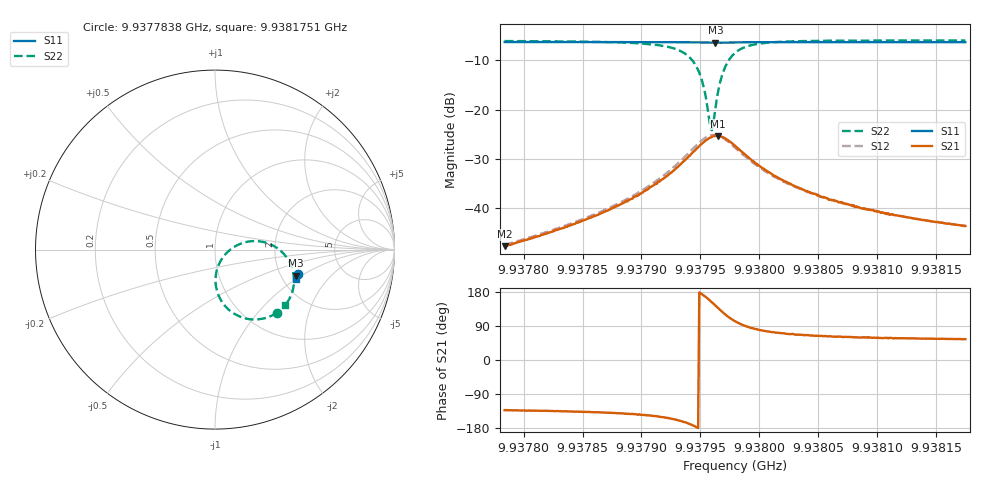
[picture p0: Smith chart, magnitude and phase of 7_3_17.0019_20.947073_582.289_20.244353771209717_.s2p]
#  HZ  S  RI  R  50.00
! Rohde & Schwarz Vector Network Analyzer
! Rohde-Schwarz,ZNB20-2Port,1311601062101988,3.16
! Created: UTC 3/20/2024, 10:52:20 PM
! freq[Hz]  re:S11  im:S11  re:S21  im:S21  re:S12  im:S12  re:S22  im:S22
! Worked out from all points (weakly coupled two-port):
!   401 points, 9.9377838 GHz to 9.9381751 GHz, reference 50 ohm
!   highest |S21| = -25.32 dB at 9.9379648 GHz (marker M1); lowest = -47.6 dB at 9.9377838 GHz (marker M2)
!   lowest |S11| = -6.5 dB at 9.9379629 GHz (marker M3), VSWR 2.80, Z = 120 - j45.2 ohm
!   |S11| at or under -10 dB: nowhere
!   |S22| runs from -24.2 to -6.0 dB; largest |S21 - S12| = 0.0081
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9.93778384e9  0.4613 -0.1372  -0.0028 -0.00307  -0.00297 -0.00313  0.3458 -0.3506
9.93784938e9  0.4594 -0.1419  -0.00544 -0.00512  -0.00571 -0.00522  0.3185 -0.3668
9.93789047e9  0.4578 -0.145  -0.00982 -0.00746  -0.0105 -0.00769  0.2765 -0.3824
9.93791493e9  0.4566 -0.1469  -0.016 -0.00935  -0.0175 -0.0096  0.2188 -0.3895
9.93793156e9  0.4551 -0.1482  -0.0251 -0.00937  -0.0276 -0.00896  0.1394 -0.3734
9.93794232e9  0.4536 -0.1488  -0.0351 -0.00591  -0.0385 -0.00344  0.06 -0.3184
9.93794721e9  0.4526 -0.1486  -0.0406 -0.00137  -0.0441 0.00254  0.0236 -0.2639
9.93795112e9  0.4518 -0.1483  -0.0448 0.00441  -0.0475 0.00994  0.00497 -0.2026
9.93795406e9  0.4514 -0.1479  -0.047 0.0103  -0.0487 0.017  0.00439 -0.1462
9.93795797e9  0.4511 -0.1471  -0.0481 0.0195  -0.0472 0.0275  0.0288 -0.0674
9.93795895e9  0.4509 -0.1468  -0.0473 0.0221  -0.0462 0.03  0.04 -0.0491
9.9379609e9  0.451 -0.1463  -0.0462 0.0273  -0.0431 0.0347  0.0686 -0.0149
9.93796286e9  0.451 -0.1458  -0.0436 0.032  -0.0395 0.0389  0.1026 0.0125
9.93796482e9  0.4513 -0.1453  -0.0402 0.0363  -0.0353 0.0422  0.1411 0.0323
9.93796775e9  0.4519 -0.1447  -0.0339 0.041  -0.0278 0.045  0.2014 0.0467
9.93797069e9  0.4527 -0.1444  -0.027 0.0439  -0.0208 0.0459  0.2575 0.0446
9.93797949e9  0.4545 -0.1448  -0.00916 0.0421  -0.00508 0.0409  0.3731 -0.0136
9.93799025e9  0.4556 -0.1462  0.00126 0.0333  0.00335 0.0319  0.4266 -0.0951
9.93800591e9  0.456 -0.1485  0.00582 0.0235  0.00653 0.0225  0.4399 -0.1722
9.93804504e9  0.4553 -0.1521  0.0061 0.0129  0.00647 0.0126  0.4249 -0.2519
9.93811058e9  0.4537 -0.157  0.00451 0.00735  0.00481 0.00732  0.4031 -0.2934
9.93817515e9  0.4518 -0.1613  0.00382 0.00545  0.00391 0.00541  0.3906 -0.3104
